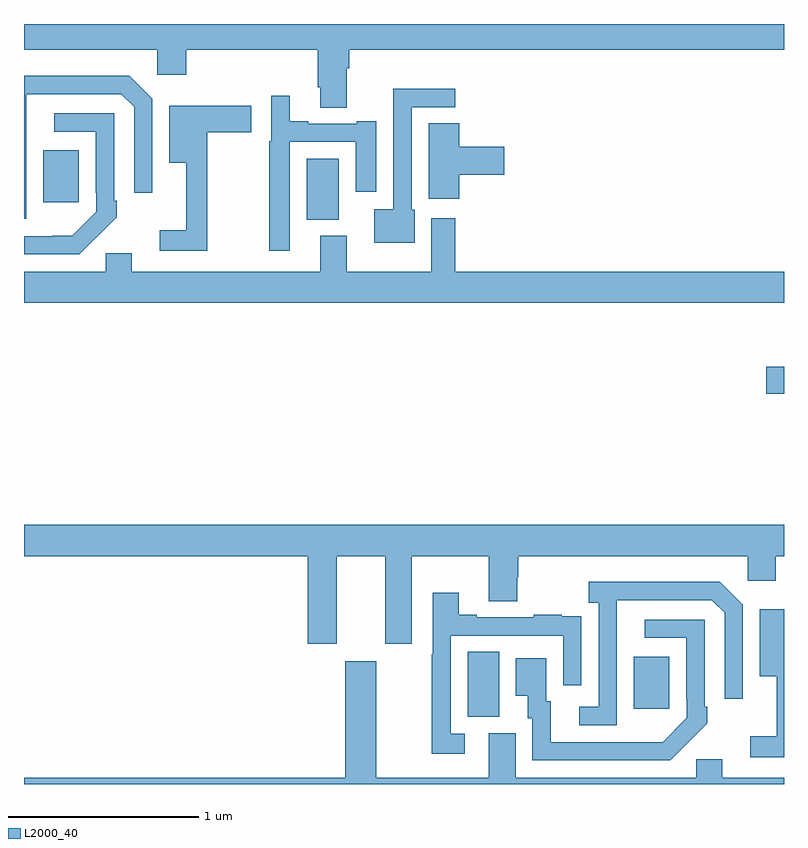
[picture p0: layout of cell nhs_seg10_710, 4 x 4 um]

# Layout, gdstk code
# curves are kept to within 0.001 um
import gdstk
lib = gdstk.Library(unit=1e-6, precision=1e-09)
def R(c, l, rs):  # rectangles x0, y0, x1, y1
    for r in rs: c.add(gdstk.rectangle(r[:2], r[2:], *l))
def P(c, l, *ps):  # polygons
    for p in ps: c.add(gdstk.Polygon(p, *l))
L2000_40 = (2000, 40)

nhs_seg10_710 = lib.new_cell('nhs_seg10_710')
R(nhs_seg10_710, L2000_40, [(149.336,1248.853,149.5,1249.196), (150.209,1248.897,150.397,1249.171), (150.906,1250.555,151,1250.697), (148.487,1251.47,148.657,1251.79), (147.101,1251.561,147.289,1251.835)])
P(nhs_seg10_710, L2000_40, [(148.699,1252.268),(148.712,1252.268),(148.712,1252.364),(151,1252.364),(151,1252.5),(147,1252.5),(147,1252.364),(147.702,1252.364),(147.702,1252.233),(147.854,1252.233),(147.854,1252.364),(148.547,1252.364),(148.547,1252.168),(148.559,1252.168),(148.559,1252.06),(148.699,1252.06)],
  [(147.012,1251.931),(147.013,1251.931),(147.013,1252.131),(147.513,1252.131),(147.579,1252.065),(147.579,1251.612),(147.675,1251.612),(147.675,1252.107),(147.554,1252.228),(147,1252.228),(147,1251.474),(147.012,1251.474)],
  [(149.056,1251.522),(149.04,1251.522),(149.04,1252.062),(149.269,1252.062),(149.269,1252.16),(148.944,1252.16),(148.944,1251.526),(148.844,1251.526),(148.844,1251.35),(149.056,1251.35)],
  [(148.398,1251.879),(148.745,1251.879),(148.745,1251.618),(148.855,1251.618),(148.855,1251.988),(148.751,1251.988),(148.751,1251.975),(148.495,1251.975),(148.495,1251.988),(148.399,1251.988),(148.399,1252.123),(148.302,1252.123),(148.302,1251.882),(148.29,1251.882),(148.29,1251.306),(148.398,1251.306)],
  [(147.964,1251.929),(148.195,1251.929),(148.195,1252.071),(147.764,1252.071),(147.764,1251.77),(147.854,1251.77),(147.854,1251.415),(147.714,1251.415),(147.714,1251.306),(147.964,1251.306)],
  [(147.383,1251.379),(147.384,1251.378),(147.489,1251.483),(147.489,1251.571),(147.474,1251.571),(147.474,1252.029),(147.159,1252.029),(147.159,1251.933),(147.378,1251.933),(147.378,1251.613),(147.381,1251.613),(147.381,1251.513),(147.253,1251.385),(147,1251.384),(147,1251.288),(147.292,1251.288)],
  [(149.291,1251.707),(149.527,1251.707),(149.527,1251.854),(149.291,1251.854),(149.291,1251.977),(149.129,1251.977),(149.129,1251.579),(149.291,1251.579)],
  [(151,1251.196),(149.27,1251.196),(149.27,1251.478),(149.144,1251.478),(149.144,1251.196),(148.699,1251.196),(148.699,1251.385),(148.559,1251.385),(148.559,1251.196),(147.568,1251.196),(147.568,1251.294),(147.429,1251.294),(147.429,1251.196),(147,1251.196),(147,1251.032),(151,1251.032)],
  [(148.645,1249.7),(148.901,1249.7),(148.901,1249.239),(149.041,1249.239),(149.041,1249.7),(149.447,1249.7),(149.447,1249.462),(149.595,1249.462),(149.595,1249.587),(149.6,1249.587),(149.6,1249.7),(150.81,1249.7),(150.81,1249.569),(150.957,1249.569),(150.957,1249.7),(151,1249.7),(151,1249.864),(147,1249.864),(147,1249.7),(148.493,1249.7),(148.493,1249.239),(148.645,1249.239)],
  [(150.12,1249.267),(150.121,1249.467),(150.621,1249.467),(150.687,1249.401),(150.687,1248.948),(150.783,1248.948),(150.783,1249.443),(150.662,1249.564),(149.973,1249.564),(149.973,1249.454),(150.024,1249.454),(150.024,1248.906),(149.922,1248.906),(149.922,1248.81),(150.12,1248.81)],
  [(149.32,1248.765),(149.247,1248.765),(149.247,1249.281),(149.838,1249.281),(149.838,1249.02),(149.934,1249.02),(149.934,1249.274),(149.933,1249.274),(149.933,1249.383),(149.831,1249.383),(149.831,1249.39),(149.683,1249.39),(149.683,1249.377),(149.383,1249.377),(149.383,1249.39),(149.287,1249.39),(149.287,1249.507),(149.151,1249.507),(149.151,1249.184),(149.146,1249.184),(149.146,1248.66),(149.32,1248.66)],
  [(151,1249.42),(150.872,1249.42),(150.872,1249.067),(150.962,1249.067),(150.962,1248.751),(150.822,1248.751),(150.822,1248.642),(151,1248.642)],
  [(150.491,1248.715),(150.492,1248.714),(150.597,1248.819),(150.597,1248.907),(150.582,1248.907),(150.582,1249.365),(150.267,1249.365),(150.267,1249.269),(150.486,1249.269),(150.486,1248.949),(150.489,1248.949),(150.489,1248.849),(150.361,1248.721),(149.773,1248.72),(149.773,1248.936),(149.749,1248.936),(149.749,1249.162),(149.588,1249.162),(149.588,1248.965),(149.651,1248.965),(149.651,1248.846),(149.676,1248.846),(149.676,1248.624),(150.4,1248.624)],
  [(151,1248.532),(150.676,1248.532),(150.676,1248.63),(150.537,1248.63),(150.537,1248.532),(149.587,1248.532),(149.587,1248.768),(149.447,1248.768),(149.447,1248.532),(148.855,1248.532),(148.855,1249.147),(148.691,1249.147),(148.691,1248.532),(147,1248.532),(147,1248.5),(151,1248.5)])

lib.write_gds('nhs_seg10_710.gds')
